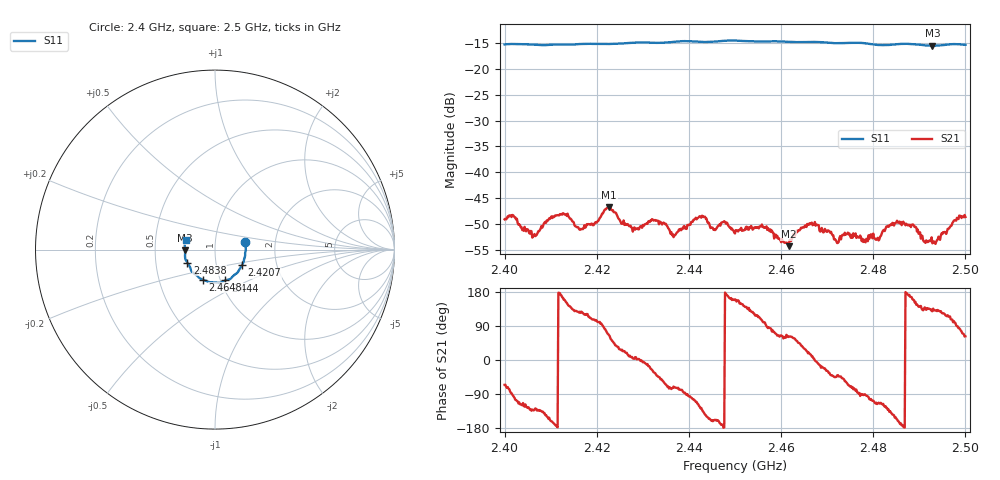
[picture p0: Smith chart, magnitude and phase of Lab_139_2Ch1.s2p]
# Hz S RI R 50
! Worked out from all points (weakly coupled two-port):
!   601 points, 2.4 GHz to 2.5 GHz, reference 50 ohm
!   highest |S21| = -46.67 dB at 2.4227 GHz (marker M1); lowest = -54.2 dB at 2.4617 GHz (marker M2)
!   lowest |S11| = -15.6 dB at 2.4928 GHz (marker M3), VSWR 1.40, Z = 35.7 - j0.336 ohm
!   |S11| at or under -10 dB: start of sweep to end of sweep
!   S12 and S22 are empty: the file has one direction only
!   S11 on the Smith chart (normalised r, x): 2.4 GHz: 1.39, +0.12; 2.4207 GHz: 1.33, -0.24; 2.444 GHz: 1.06, -0.37; 2.4648 GHz: 0.83, -0.29; 2.4838 GHz: 0.73, -0.11; 2.5 GHz: 0.72, +0.08
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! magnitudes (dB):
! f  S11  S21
! 2.4 GHz  -15.3  -49.1
! 2.4065 GHz  -15.4  -51.9
! 2.4125 GHz  -15.3  -48.2
! 2.4167 GHz  -15.2  -51.0
! 2.4207 GHz  -15.2  -48.8
! 2.4227 GHz  -15.2  -46.7
! 2.4282 GHz  -15.0  -50.6
! 2.4333 GHz  -15.0  -49.3
! 2.4368 GHz  -14.8  -52.2
! 2.444 GHz  -14.8  -49.6
! 2.45 GHz  -14.6  -51.8
! 2.4563 GHz  -14.8  -50.7
! 2.4617 GHz  -14.8  -54.2
! 2.4648 GHz  -14.9  -50.6
! 2.4667 GHz  -14.8  -49.7
! 2.472 GHz  -15.1  -53.3
! 2.4808 GHz  -15.4  -52.8
! 2.4833 GHz  -15.4  -50.5
! 2.4838 GHz  -15.4  -50.0
! 2.4888 GHz  -15.3  -50.3
! 2.4928 GHz  -15.6  -53.7
! 2.5 GHz  -15.4  -48.6
